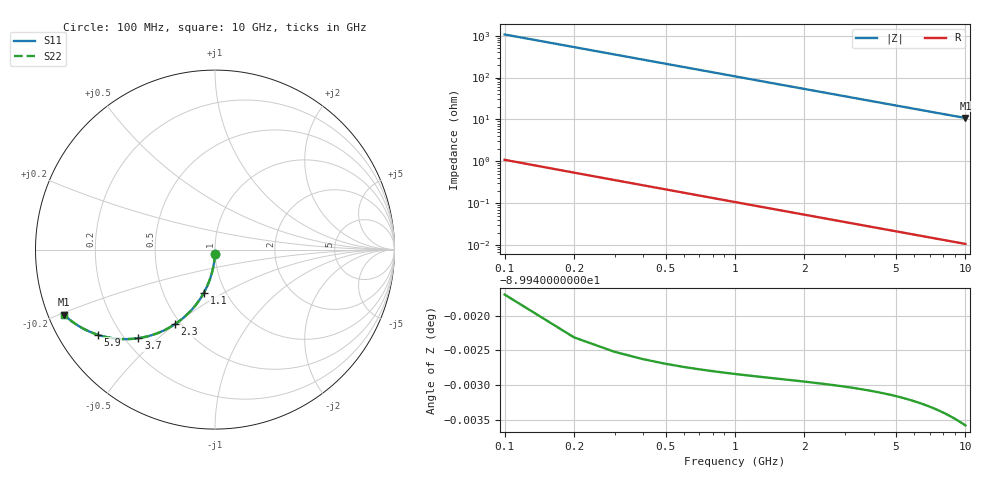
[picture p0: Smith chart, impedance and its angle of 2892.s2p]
# Hz S RI R 50.00
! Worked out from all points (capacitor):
!   100 points, 100 MHz to 10 GHz, reference 50 ohm
!   read as one part in shunt: C = 1.49 pF near 100 MHz
!   lowest |Z| = 10.8 ohm at 10 GHz (marker M1)
!   S11 on the Smith chart (normalised r, x): 100 MHz: 1.00, -0.05; 1.1 GHz: 0.79, -0.41; 2.3 GHz: 0.46, -0.50; 3.7 GHz: 0.25, -0.43; 5.9 GHz: 0.12, -0.32; 10 GHz: 0.05, -0.21
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1e8  -0.000565 -0.0234  0.9994 -0.0234  0.9994 -0.0234  -0.000565 -0.0234
2e8  -0.00223 -0.0467  0.9978 -0.0467  0.9978 -0.0467  -0.00223 -0.0467
3e8  -0.00497 -0.0698  0.995 -0.0699  0.995 -0.0699  -0.00497 -0.0698
4e8  -0.00877 -0.0927  0.9912 -0.0928  0.9912 -0.0928  -0.00877 -0.0927
5e8  -0.0136 -0.1153  0.9864 -0.1155  0.9864 -0.1155  -0.0136 -0.1153
6e8  -0.0194 -0.1375  0.9805 -0.1377  0.9805 -0.1377  -0.0194 -0.1375
7e8  -0.0263 -0.1593  0.9737 -0.1595  0.9737 -0.1595  -0.0263 -0.1593
9e8  -0.0426 -0.2013  0.9574 -0.2016  0.9574 -0.2016  -0.0426 -0.2013
1.1e9  -0.0622 -0.2409  0.9377 -0.2413  0.9377 -0.2413  -0.0622 -0.2409
1.4e9  -0.097 -0.2952  0.903 -0.2957  0.903 -0.2957  -0.097 -0.2952
1.8e9  -0.1505 -0.3567  0.8495 -0.3574  0.8495 -0.3574  -0.1505 -0.3567
2.3e9  -0.224 -0.416  0.776 -0.4169  0.776 -0.4169  -0.224 -0.416
2.8e9  -0.2993 -0.4569  0.7007 -0.458  0.7007 -0.458  -0.2993 -0.4569
3.4e9  -0.386 -0.4857  0.614 -0.4869  0.614 -0.4869  -0.386 -0.4857
3.7e9  -0.4265 -0.4934  0.5735 -0.4947  0.5735 -0.4947  -0.4265 -0.4934
4.4e9  -0.512 -0.4986  0.4879 -0.5002  0.4879 -0.5002  -0.512 -0.4986
5.1e9  -0.5845 -0.4914  0.4155 -0.4932  0.4155 -0.4932  -0.5845 -0.4914
5.9e9  -0.6527 -0.4745  0.3473 -0.4767  0.3473 -0.4767  -0.6527 -0.4745
6.7e9  -0.7075 -0.4532  0.2925 -0.4557  0.2925 -0.4557  -0.7075 -0.4532
7.5e9  -0.7516 -0.4302  0.2484 -0.433  0.2484 -0.433  -0.7516 -0.4302
8.4e9  -0.7912 -0.4044  0.2088 -0.4075  0.2088 -0.4075  -0.7912 -0.4044
1e10  -0.8426 -0.3618  0.1573 -0.3655  0.1573 -0.3655  -0.8426 -0.3618
